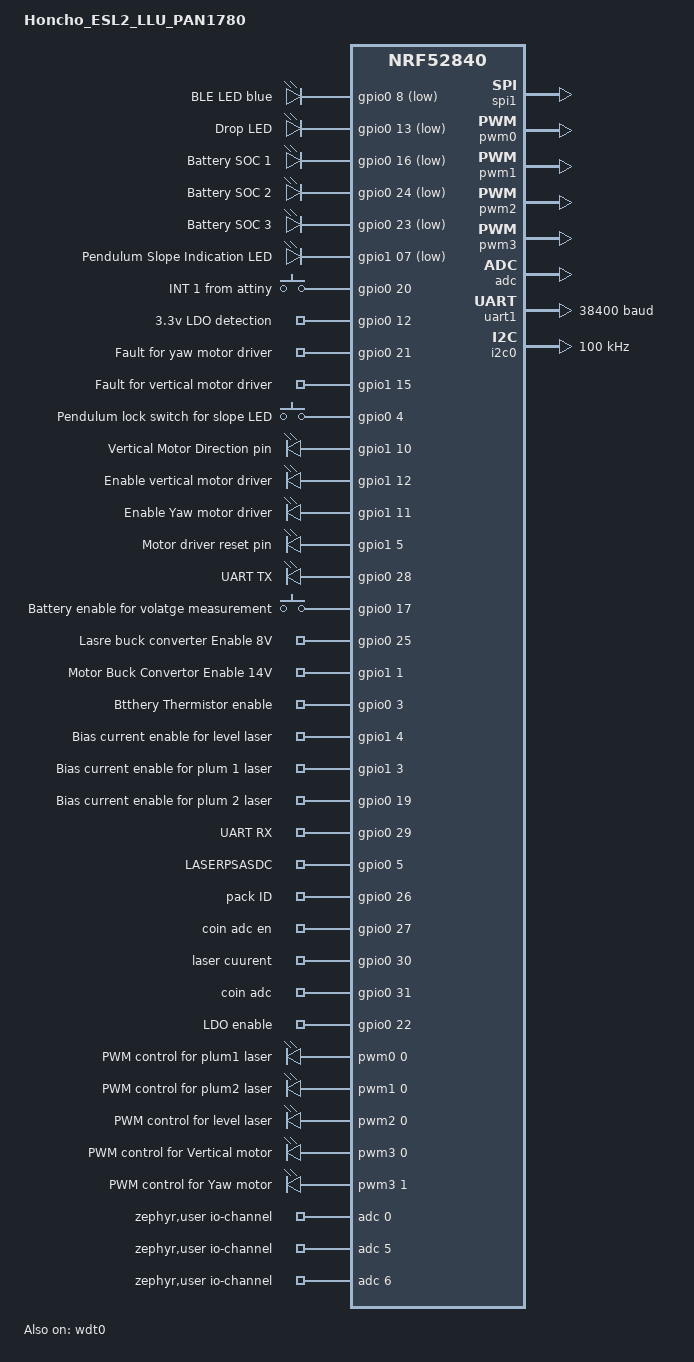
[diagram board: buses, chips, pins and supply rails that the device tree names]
// Copyright (c) 2023 Nordic Semiconductor ASA
// SPDX-License-Identifier: Apache-2.0

/dts-v1/;
#include <nordic/nrf52840_qiaa.dtsi>
#include "honcho_esl2_llu_pan1780-pinctrl.dtsi"

/ {
	model = "Honcho_ESL2_LLU_PAN1780";
	compatible = "stanley-black-decker,honcho-esl2-llu-pan1780";

	chosen {
		zephyr,sram = &sram0;
		zephyr,flash = &flash0;
		zephyr,code-partition = &slot0_partition;
	};

	leds {
		compatible = "gpio-leds";
		// Power_led: Power_led {
		// 	gpios = <&gpio0 11 GPIO_ACTIVE_LOW>;
		// 	label = "Power LED red";
		// };
		Blue_led: Blue_led {
			gpios = <&gpio0 8 GPIO_ACTIVE_LOW>;
			label = "BLE LED blue";
		};
		Drop_led: Drop_led {
			gpios = <&gpio0 13 GPIO_ACTIVE_LOW>;
			label = "Drop LED";
		};
		soc1: soc1 {
			gpios = <&gpio0 16 GPIO_ACTIVE_LOW>;
			label = "Battery SOC 1";

		};
		soc2: soc2 {
			gpios = <&gpio0 24 GPIO_ACTIVE_LOW>;
			label = "Battery SOC 2";
			
		};
		soc3: soc3 {
			gpios = <&gpio0 23 GPIO_ACTIVE_LOW>;
			label = "Battery SOC 3";
			
		};
		Slope_led: Slope_led {
			gpios = <&gpio1 07 GPIO_ACTIVE_LOW>;
			label = "Pendulum Slope Indication LED";
			
		};
		
	};

	interrupt {
		compatible = "gpio-keys";
		keypadint: keypadint {
			gpios =  <&gpio0 20  (GPIO_PULL_DOWN | GPIO_ACTIVE_HIGH)>;
			label = "INT 1 from attiny";
		};
		v3p3detect: v3p3detect {
			gpios =  <&gpio0 12  (GPIO_ACTIVE_HIGH)>;
			label = "3.3v LDO detection";
		};
		yawfault: yawfault {
			gpios = <&gpio0 21 (GPIO_ACTIVE_HIGH)>;
			label = "Fault for yaw motor driver";
		};
		vertfault: vertfault {
			gpios = <&gpio1 15 (GPIO_ACTIVE_HIGH)>;
			label = "Fault for vertical motor driver";
		};
		pendulumlock: pendulumlock {
			gpios = <&gpio0 4 (GPIO_PULL_DOWN | GPIO_ACTIVE_HIGH)>;
			label = "Pendulum lock switch for slope LED";
		};
		
	};

	outputs {
		compatible = "gpio-leds";
		motor_dir: motor_dir  {
			gpios = <&gpio1 10 GPIO_ACTIVE_HIGH>;		
			label = "Vertical Motor Direction pin";
		};
		// motor_yaw_dir: motor_yaw_dir {
		// 	gpios = <&gpio1 2 GPIO_ACTIVE_HIGH>;		
		// 	label = "Yaw Motor Direction pin";
		// };
		motor_vertEN: motor_vertEN {
			gpios = <&gpio1 12 GPIO_ACTIVE_HIGH>;
			label = "Enable vertical motor driver";
		};
		motor_yawEN: motor_yawEN {
			gpios = <&gpio1 11 GPIO_ACTIVE_HIGH>;
			label = "Enable Yaw motor driver";
		};
		motor_reset: motor_reset{
			gpios = <&gpio1 5 GPIO_ACTIVE_HIGH>;
			label = "Motor driver reset pin";
		};
		Uart_TX: Uart_TX_28 {
            gpios = <&gpio0 28 GPIO_ACTIVE_HIGH>;
            label = "UART TX";
        };
       
	};
	
	enables {
		compatible = "gpio-keys";
		Vbatpack_EN: Vbatpack_EN {
			gpios =  <&gpio0 17 (GPIO_ACTIVE_HIGH)>;
			label = "Battery enable for volatge measurement";
		};
		LaserBuck_EN: LaserBuck_EN {
			gpios =  <&gpio0 25 (GPIO_ACTIVE_HIGH)>;
			label = "Lasre buck converter Enable 8V";
		};
		MotorBuck_EN: MotorBuck_EN {
			gpios =  <&gpio1 1 (GPIO_ACTIVE_HIGH)>;
			label = "Motor Buck Convertor Enable 14V";
		};
		BattTH_EN: BattTH_EN {
			gpios =  <&gpio0 3 (GPIO_ACTIVE_HIGH)>;
			label = "Btthery Thermistor enable";
		};
		LaserLbias:LaserLbias {
			gpios =  <&gpio1 4 (GPIO_ACTIVE_HIGH)>;
			label = "Bias current enable for level laser";
		};
		LaserP1bias:LaserP1bias {
			gpios =  <&gpio1 3 (GPIO_ACTIVE_HIGH)>;
			label = "Bias current enable for plum 1 laser";
		};
		LaserP2bias:LaserP2bias {
			gpios =  <&gpio0 19 (GPIO_ACTIVE_HIGH)>;
			label = "Bias current enable for plum 2 laser";
		};
		Uart_RX: Uart_RX_29 {
            gpios = <&gpio0 29 (GPIO_ACTIVE_HIGH)>;
            label = "UART RX";
        };
		Laser_PS_ADC: Laser_PS_ADC{
			gpios = <&gpio0 5 (GPIO_ACTIVE_HIGH)>;
            label = "LASERPSASDC";
		};
		PACK_ID_EN: PACK_ID_EN{
			gpios = <&gpio0 26 (GPIO_ACTIVE_HIGH)>;
            label = "pack ID";
		};
		VBatt_coin_EN: Vbatt_coin_EN{
			gpios = <&gpio0 27 (GPIO_ACTIVE_HIGH)>;
            label = "coin adc en";
		};
		Laser_Current: Laser_Current{
			gpios = <&gpio0 30 (GPIO_ACTIVE_HIGH)>;
            label = "laser cuurent";
		};
		Vbatt_coin_adc: Vbatt_coin_adc{
			gpios = <&gpio0 31 (GPIO_ACTIVE_HIGH)>;
            label = "coin adc";
		};
		LDO_EN: LDO_EN{
			gpios = <&gpio0 22 (GPIO_ACTIVE_HIGH)>;
            label = "LDO enable";
		};


	};

	pwm {
		compatible = "pwm-leds";
		plum1_pwm: plum1_pwm {
			pwms = <&pwm0 0 PWM_MSEC(20) PWM_POLARITY_INVERTED>;
			label = "PWM control for plum1 laser";
		};

		plum2_pwm: plum2_pwm {
			pwms = <&pwm1 0 PWM_MSEC(20) PWM_POLARITY_INVERTED>;
			label = "PWM control for plum2 laser";
		};

		level_pwm: level_pwm {
			pwms = <&pwm2 0 PWM_MSEC(20) PWM_POLARITY_INVERTED>;
			label = "PWM control for level laser";
		};
		vert_motor_step: vert_motor_step {
			pwms = <&pwm3 0 PWM_MSEC(20) PWM_POLARITY_INVERTED>;
			label = "PWM control for Vertical motor";
		};
		yaw_motor_step: yaw_motor_step {
			pwms = <&pwm3 1 PWM_MSEC(20) PWM_POLARITY_INVERTED>;
			label = "PWM control for Yaw motor";
		};

	};

	zephyr,user{
		io-channels = <&adc 0>,<&adc 5>,<&adc 6>;
	};

	aliases {
		keypadint 		= &keypadint;
		battdetect	    = &v3p3detect;
		pendlck			= &pendulumlock;
		bleled	 		= &Blue_led;
		dropled			= &Drop_led;
		slopeled		= &Slope_led;
		vbaten 			= &Vbatpack_EN;
		battthen		= &BattTH_EN;
		lbucken 		= &LaserBuck_EN;
		mbucken 		= &MotorBuck_EN;
		motordir 		= &motor_dir;
		motorverten     = &motor_vertEN;
		motoryawen      = &motor_yawEN;
		lvlbias			= &LaserLbias;
		plm1bias		= &LaserP1bias;
		plm2bias		= &LaserP2bias;
		motorrst		= &motor_reset;	
		uarttx 			= &Uart_TX;				//Bitbang Datalog
        uartrx 			= &Uart_RX;				//Bitbang Datalog
		laserpsadc 		= &Laser_PS_ADC;
		packiden		= &PACK_ID_EN;
		vbatcoinen		= &VBatt_coin_EN;
		lasercurrent	= &Laser_Current;
		vbattcoinadc	= &Vbatt_coin_adc;
		ldoen			= &LDO_EN;
	};
};

&gpio0 {
	status = "okay";
};

&gpio1 {
	status = "okay";
};

&spi1 {
	status = "okay";
	pinctrl-0 = <&spi1_default>;
	pinctrl-1 = <&spi1_sleep>;
	pinctrl-names = "default", "sleep";
	cs-gpios = <&gpio0 7 GPIO_ACTIVE_LOW>;
};

&pwm0 {
	status = "okay";
	pinctrl-0 = <&pwm0_default>;
	pinctrl-1 = <&pwm0_sleep>;
	pinctrl-names = "default", "sleep";
};

&pwm1 {
	status = "okay";
	pinctrl-0 = <&pwm1_default>;
	pinctrl-1 = <&pwm1_sleep>;
	pinctrl-names = "default", "sleep";
};

&pwm2 {
	status = "okay";
	pinctrl-0 = <&pwm2_default>;
	pinctrl-1 = <&pwm2_sleep>;
	pinctrl-names = "default", "sleep";
};

&pwm3 {
	status = "okay";
	pinctrl-0 = <&pwm3_default>;
	pinctrl-1 = <&pwm3_sleep>;
	pinctrl-names = "default", "sleep";
};



&adc {
	status = "okay";
};

// &uart0 {
// 	status = "okay";
// 	compatible = "nordic,nrf-uarte";
// 	current-speed = <115200>;
// 	pinctrl-0 = <&uart0_default>;
// 	pinctrl-1 = <&uart0_sleep>;
// 	pinctrl-names = "default", "sleep";
// };

&uart1 {
	compatible = "nordic,nrf-uarte";
	current-speed = <38400>;					//9600 = ibox, 38400 = bootloader
	status = "okay";
	pinctrl-0 = <&uart1_default>;
	pinctrl-1 = <&uart1_sleep>;
	pinctrl-names = "default", "sleep";
  };

  &i2c0 {
	status = "okay";
	pinctrl-0 = <&i2c0_default>;
	pinctrl-1 = <&i2c0_sleep>;
	clock-frequency = <I2C_BITRATE_STANDARD>;
	pinctrl-names = "default", "sleep";

  };

//   &flash0 {
// 	partitions {
// 		compatible = "fixed-partitions";
// 		#address-cells = <1>;
// 		#size-cells = <1>;

// 		boot_partition: partition@0 {
// 			label = "mcuboot";
// 			reg = <0x000000000 0x0000C000>;
// 		};
// 		slot0_partition: partition@c000 {
// 			label = "image-0";
// 			reg = <0x0000C000 0x00067000>;
// 		};
// 		slot1_partition: partition@73000 {
// 			label = "image-1";
// 			reg = <0x00073000 0x00067000>;
// 		};
// 		scratch_partition: partition@da000 {
// 			label = "image-scratch";
// 			reg = <0x000da000 0x00014000>;
// 		};

// 		/*
// 		 * The flash starting at 0x000f8000 and ending at
// 		 * 0x000fffff is reserved for use by the application.
// 		 */

// 		/*
// 		 * Storage partition will be used by FCB/LittleFS/NVS
// 		 * if enabled.
// 		 */
// 		datalog_partition: partition@EE000 {
// 			label = "datalog";
// 			reg = <0x000ee000 0x0006000>;
// 		};
// 		calibraion_parition: partition@f4000 {
// 			label = "calib-variable";
// 			reg = <0x000f4000 0x0002000>;
// 		};
// 		variable_partition: partition@f6000{
// 			label = "flash-variable";
// 			reg = <0x000f6000 0x0002000>;
// 		};
// 		storage_partition: partition@f8000 {
// 			label = "storage";
// 			reg = <0x000f8000 0x00008000>;
// 		};
// 	};
// };

&flash0 {
	partitions {
		compatible = "fixed-partitions";
		#address-cells = <1>;
		#size-cells = <1>;

		boot_partition: partition@0 {
			label = "mcuboot";
			reg = <0x000000000 0x0000C000>;
		};
		slot0_partition: partition@c000 {
			label = "image-0";
			reg = <0x0000c000 0x00072000>;
		};
		// slot1_partition: partition@7e000 {
		// 	label = "image-1";
		// 	reg = <0x7e000 0x72000>;
		// };
		// scratch_partition: partition@f0000 {
		// 	label = "image-scratch";
		// 	reg = <0xf0000 0xa000>;
		// };
		scratch_partition: partition@7e000 {
			label = "image-scratch";
			reg = <0x0007e000 0x00070000>;
		};
		datalog_partition: partition@ee000	{
			label = "datalog-area";
			reg = <0x000ee000 0x00006000>;
		};
		calibraion_parition: partition@f4000 {
			label = "calib-area";
			reg = <0x000f4000 0x00002000>;
		};
		variable_partition: partition@f6000{
			label = "laserstatus-area";
			reg = <0x000f6000 0x00002000>;
		};
		storage_partition: partition@f8000 {
			label = "storage";
			reg = <0x000f8000 0x00008000>;
		};
	};
};

&wdt0 {
	compatible= "nordic,nrf-wdt";
	status="okay";
};
